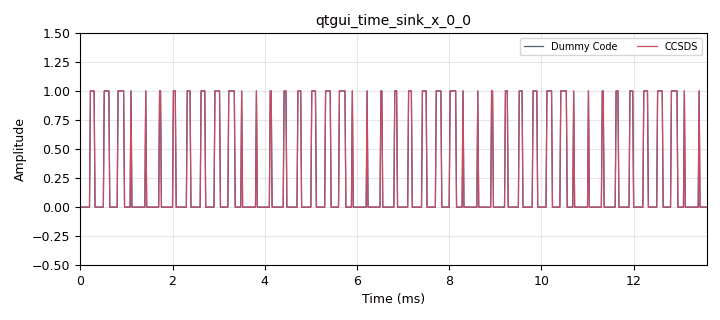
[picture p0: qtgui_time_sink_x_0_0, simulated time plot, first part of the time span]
options:
  parameters:
    category: Custom
    generate_options: qt_gui
    id: fecapi_cc_decoders
    output_language: python
  states: {}

blocks:
- name: dec_cc
  id: variable_cc_decoder_def
  parameters:
    framebits: frame_size*8
    k: k
    mode: fec.CC_STREAMING
    ndim: '0'
    padding: 'False'
    polys: polys
    rate: rate
    state_end: '-1'
    state_start: '0'
  states: {}
- name: enc_cc
  id: variable_cc_encoder_def
  parameters:
    framebits: frame_size*8
    k: k
    mode: fec.CC_STREAMING
    ndim: '0'
    padding: 'False'
    polys: polys
    rate: rate
    state_start: '0'
  states: {}
- name: k
  id: variable
  parameters:
    value: '7'
  states: {}
- name: polys
  id: variable
  parameters:
    value: '[79, 109]'
  states: {state: disabled}
- name: polys
  id: variable
  parameters:
    value: '[109, 79]'
  states: {}
- name: rate
  id: variable
  parameters:
    value: '2'
  states: {}
- name: samp_rate
  id: variable
  parameters:
    value: '50000'
  states: {}
- name: analog_random_source_x_0
  id: analog_random_source_x
  parameters:
    max: '256'
    min: '0'
    num_samps: '1000'
    repeat: 'True'
    type: byte
  states: {state: disabled}
- name: blocks_char_to_float_0_1
  id: blocks_char_to_float
  parameters:
    scale: '1'
  states: {}
- name: blocks_char_to_float_1
  id: blocks_char_to_float
  parameters:
    scale: '1'
  states: {}
- name: blocks_char_to_float_1_0
  id: blocks_char_to_float
  parameters:
    scale: '1'
  states: {}
- name: blocks_ctrlport_monitor_performance_0
  id: blocks_ctrlport_monitor_performance
  parameters:
    en: 'True'
  states: {state: disabled}
- name: blocks_throttle_0
  id: blocks_throttle
  parameters:
    samples_per_second: samp_rate
    type: byte
  states: {}
- name: blocks_unpack_k_bits_bb_0
  id: blocks_unpack_k_bits_bb
  parameters:
    k: '8'
  states: {}
- name: blocks_vector_source_x_0_1_0
  id: blocks_vector_source_x
  parameters:
    repeat: 'True'
    type: byte
    vector: (frame_size//15)*[1, 0, 1, 0, 3, 0, 7, 0, 15, 0, 31, 0, 63, 0, 127]
  states: {}
- name: digital_map_bb_0
  id: digital_map_bb
  parameters:
    map: '[-1, 1]'
  states: {}
- name: fec_extended_decoder_0_0
  id: fec_extended_decoder
  parameters:
    decoder_list: dec_cc
    puncpat: puncpat
    threadtype: capillary
  states: {}
- name: fec_extended_encoder_0
  id: fec_extended_encoder
  parameters:
    encoder_list: enc_cc
    puncpat: puncpat
    threadtype: ordinary
  states: {}
- name: frame_size
  id: parameter
  parameters:
    label: Frame Size
    type: intx
    value: '60'
  states: {}
- name: puncpat
  id: parameter
  parameters:
    value: '''11'''
  states: {}
- name: qtgui_time_sink_x_0_0
  id: qtgui_time_sink_x
  parameters:
    alpha2: '0.6'
    color1: '"blue"'
    color2: '"red"'
    label1: Dummy Code
    label2: CCSDS
    nconnections: '2'
    size: '2048'
    srate: samp_rate
    type: float
    ymax: '1.5'
    ymin: '-0.5'
  states: {}

connections:
- [analog_random_source_x_0, '0', blocks_throttle_0, '0']
- [blocks_char_to_float_0_1, '0', qtgui_time_sink_x_0_0, '0']
- [blocks_char_to_float_1, '0', fec_extended_decoder_0_0, '0']
- [blocks_char_to_float_1_0, '0', qtgui_time_sink_x_0_0, '1']
- [blocks_throttle_0, '0', blocks_unpack_k_bits_bb_0, '0']
- [blocks_unpack_k_bits_bb_0, '0', blocks_char_to_float_0_1, '0']
- [blocks_unpack_k_bits_bb_0, '0', fec_extended_encoder_0, '0']
- [blocks_vector_source_x_0_1_0, '0', blocks_throttle_0, '0']
- [digital_map_bb_0, '0', blocks_char_to_float_1, '0']
- [fec_extended_decoder_0_0, '0', blocks_char_to_float_1_0, '0']
- [fec_extended_encoder_0, '0', digital_map_bb_0, '0']

metadata:
  file_format: 1
